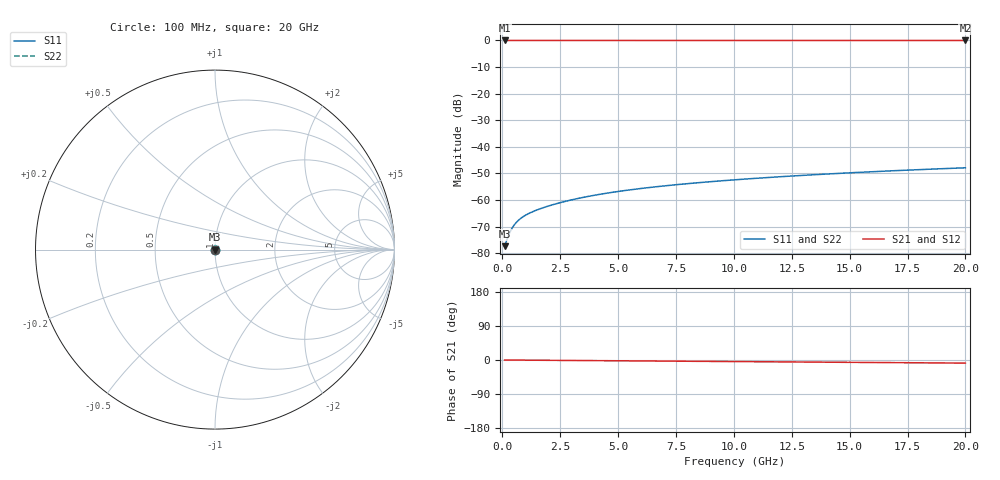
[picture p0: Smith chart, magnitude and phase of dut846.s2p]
! Touchstone file exported from HFSS 2026.1.0
!  File:  C:/ffzhzh/LocalFiles/Ansys_Project_Files/temp_train_TSV_846_1783185028_43440.aedt
!  Generated:  01:12:05 AM Jul  5, 2026
!  Design:  TSV
!  Project:  temp_train_TSV_846_1783185028_43440
! Variables:
!  h_bsmrdl = 2um
!  h_ox = 20um
!  h_rdl = 5um
!  h_sub = 82.6um
!  h_tmrdl = 5um
!  h_tsv = 82.6um
!  h_via = 3um
!  l_bsmrdl = 300um
!  l_sub = 421.1um
!  l_tmrdl = 200um
!  m_sub = 200um
!  pitch = 43.79um
!  r_tsv = 10.55um
!  s_tmrdl = 10um
!  w_bsmrdl = 18um
!  w_sub = 500um
!  w_tmrdl = 12um
!  x_tsv_center1 = 206um
!  x_tsv_center2 = 524um
!  x_tsv_center3 = 736um
!  x_tsv_center4 = 1054um
!  x_tsv_center5 = 1266um
!  x_tsv_center6 = 1584um
# GHz S MA R 50.000000
! Terminal data exported
! Port[1] = TSV1_1_T1
! Port[2] = TSV1_1_T2
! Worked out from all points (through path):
!   200 points, 100 MHz to 20 GHz, reference 50 ohm
!   highest |S21| = 0.00 dB at 100 MHz (marker M1); lowest = 0.0 dB at 20 GHz (marker M2)
!   group delay of S21, straight-line fit = 1.14 ps
!   lowest |S11| = -77.3 dB at 100 MHz (marker M3), VSWR 1.00, Z = 50 + j0.00631 ohm
!   |S11| at or under -10 dB: start of sweep to end of sweep
!   |S22| runs from -77.3 to -47.9 dB; largest |S21 - S12| = 3.1e-15
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0.1  0.0001363 27.6  0.9999 -0.0  0.9999 -0.0  0.0001363 27.6
! Gamma 0 0 0 0
! Port Impedance 50 0 50 0
0.2  0.0001816 42.7  0.9999 -0.1  0.9999 -0.1  0.0001816 42.7
0.3  0.0002342 49.4  0.9998 -0.1  0.9998 -0.1  0.0002342 49.4
0.4  0.0002861 52.3  0.9998 -0.2  0.9998 -0.2  0.0002861 52.3
0.5  0.0003344 53.4  0.9998 -0.2  0.9998 -0.2  0.0003344 53.4
0.6  0.0003785 53.8  0.9998 -0.3  0.9998 -0.3  0.0003785 53.8
0.7  0.0004184 54.0  0.9998 -0.3  0.9998 -0.3  0.0004184 54.0
0.9  0.000488 54.0  0.9997 -0.4  0.9997 -0.4  0.000488 54.0
1.1  0.0005482 54.3  0.9997 -0.5  0.9997 -0.5  0.0005482 54.3
1.3  0.0006028 54.7  0.9997 -0.5  0.9997 -0.5  0.0006027 54.7
1.6  0.0006791 55.6  0.9996 -0.7  0.9996 -0.7  0.0006791 55.6
1.9  0.0007524 56.7  0.9996 -0.8  0.9996 -0.8  0.0007524 56.7
2.6  0.0009191 58.7  0.9995 -1.1  0.9995 -1.1  0.0009191 58.7
3.5  0.001127 60.5  0.9995 -1.5  0.9995 -1.5  0.001127 60.5
4.2  0.001283 61.3  0.9994 -1.7  0.9994 -1.7  0.001283 61.3
5  0.001453 62.0  0.9994 -2.1  0.9994 -2.1  0.001453 62.0
6.8  0.001813 62.8  0.9993 -2.8  0.9993 -2.8  0.001813 62.8
8.3  0.002094 63.3  0.9992 -3.4  0.9992 -3.4  0.002094 63.3
10.1  0.002418 63.7  0.9991 -4.2  0.9991 -4.2  0.002419 63.7
13.4  0.002989 64.0  0.999 -5.5  0.999 -5.5  0.002989 64.0
16.7  0.003533 63.8  0.9988 -6.9  0.9988 -6.9  0.003533 63.8
20  0.004046 63.3  0.9987 -8.2  0.9987 -8.2  0.004047 63.2
